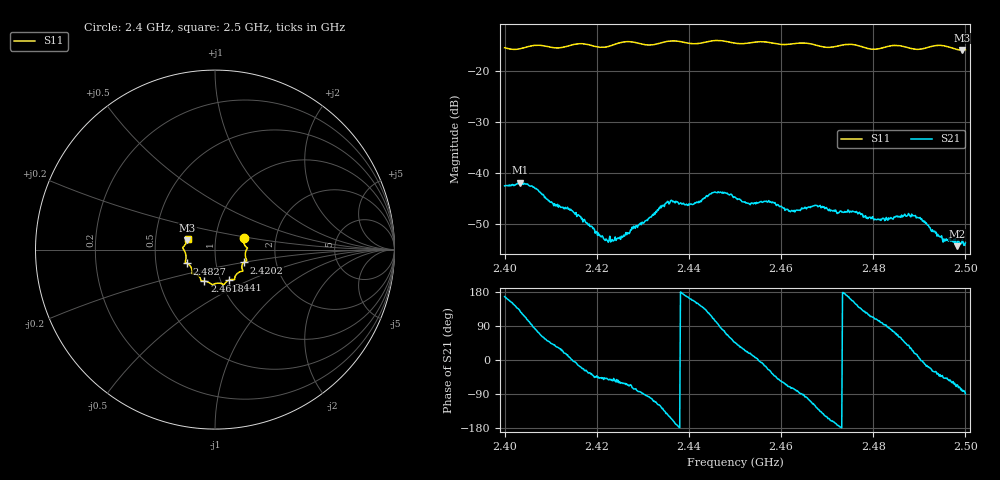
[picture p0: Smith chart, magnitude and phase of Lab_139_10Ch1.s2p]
# Hz S RI R 50
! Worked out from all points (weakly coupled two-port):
!   601 points, 2.4 GHz to 2.5 GHz, reference 50 ohm
!   highest |S21| = -41.90 dB at 2.4033 GHz (marker M1); lowest = -54.4 dB at 2.4982 GHz (marker M2)
!   lowest |S11| = -15.8 dB at 2.4993 GHz (marker M3), VSWR 1.39, Z = 36.5 + j3.8 ohm
!   |S11| at or under -10 dB: start of sweep to end of sweep
!   S12 and S22 are empty: the file has one direction only
!   S11 on the Smith chart (normalised r, x): 2.4 GHz: 1.36, +0.18; 2.4202 GHz: 1.36, -0.20; 2.441 GHz: 1.10, -0.39; 2.4618 GHz: 0.84, -0.30; 2.4827 GHz: 0.72, -0.11; 2.5 GHz: 0.73, +0.09
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2.4e9  0.159 0.0628  -0.00728 0.00165  0 0  0 0
2.403333e9  0.1652 0.0253  -0.00514 0.00618  0 0  0 0
2.416667e9  0.1772 -0.0609  0.00331 -0.00123  0 0  0 0
2.420167e9  0.1589 -0.0714  0.00168 -0.00176  0 0  0 0
2.422167e9  0.15 -0.0892  0.00146 -0.00163  0 0  0 0
2.424667e9  0.1534 -0.1115  0.00135 -0.00184  0 0  0 0
2.433333e9  0.1116 -0.1507  -0.00203 -0.00377  0 0  0 0
2.435833e9  0.1092 -0.1662  -0.00436 -0.00254  0 0  0 0
2.441e9  0.0789 -0.1697  -0.00451 0.00197  0 0  0 0
2.4455e9  0.0509 -0.1944  -0.00178 0.00619  0 0  0 0
2.45e9  0.0286 -0.1874  0.00399 0.00419  0 0  0 0
2.452833e9  0.000674 -0.1897  0.00474 0.00167  0 0  0 0
2.457833e9  -0.0242 -0.1899  0.00437 -0.00275  0 0  0 0
2.461833e9  -0.0591 -0.1754  0.0014 -0.00399  0 0  0 0
2.466667e9  -0.0788 -0.1683  -0.00178 -0.0043  0 0  0 0
2.482667e9  -0.1559 -0.0769  -7.71e-05 0.00345  0 0  0 0
2.483333e9  -0.1602 -0.0749  0.000354 0.00359  0 0  0 0
2.488833e9  -0.1612 -0.04  0.00358 0.00124  0 0  0 0
2.4955e9  -0.1774 0.0146  0.00142 -0.00159  0 0  0 0
2.498167e9  -0.1607 0.0353  0.000805 -0.00172  0 0  0 0
2.499333e9  -0.1543 0.0508  0.000291 -0.00217  0 0  0 0
2.5e9  -0.1523 0.0604  3.65e-05 -0.00204  0 0  0 0
